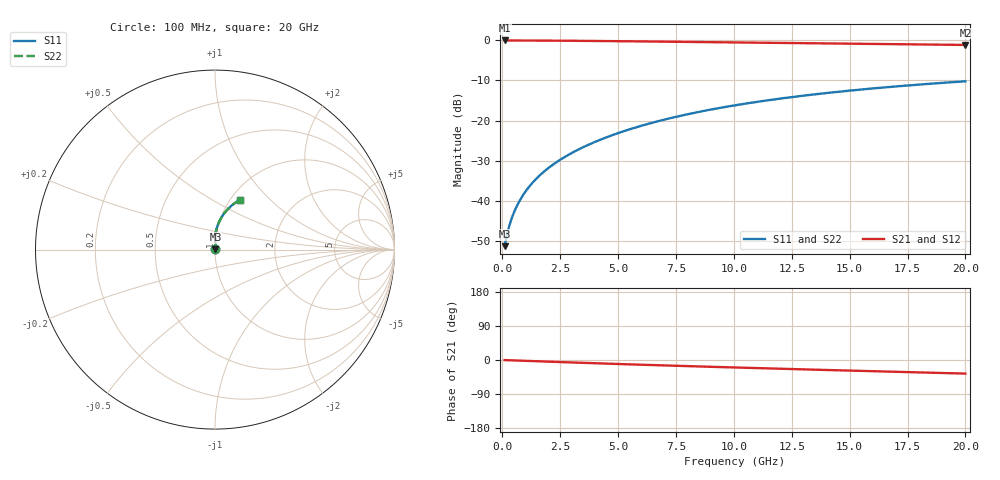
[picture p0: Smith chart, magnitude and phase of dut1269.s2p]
! Touchstone file exported from HFSS 2024.1.0
!  File:  C:/UserFiles/LocalFiles/RDL_TSV_Batchsim/temp_RDL_bottom_1269_1780246171.aedt
!  Generated:  12:51:46 AM Jun  1, 2026
!  Design:  RDL_bottom
!  Project:  temp_RDL_bottom_1269_1780246171
!  Setup:  Setup1
!  Solution:  Sweep
! Variables:
!  dtsv = 10.80580581um
!  hbump = 3um
!  htsv = 53.59um
!  ldown = 521.13um
!  lrdl = 100um
!  p = 40
!  p1 = 50.8um
!  rhole = 1um
!  t = 450um
!  tdown = 3.44um
!  trdl = 3.915915916um
!  wdown = 26.23um
!  wrdl = 20um
# GHz S MA R 50.000000
! Terminal data exported
! Port[1] = RDL1_T1
! Port[2] = RDL1_T2
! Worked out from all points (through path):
!   200 points, 100 MHz to 20 GHz, reference 50 ohm
!   highest |S21| = -0.02 dB at 100 MHz (marker M1); lowest = -1.1 dB at 20 GHz (marker M2)
!   group delay of S21, straight-line fit = 4.91 ps
!   lowest |S11| = -51.3 dB at 100 MHz (marker M3), VSWR 1.01, Z = 50.2 + j0.147 ohm
!   |S11| at or under -10 dB: start of sweep to end of sweep
!   |S22| runs from -51.3 to -10.2 dB; largest |S21 - S12| = 4.3e-15
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0.1  0.002717 32.6  0.9977 -0.2  0.9977 -0.2  0.002717 32.6
! Gamma 0 0 0 0
! Port Impedance 50 0 50 0
0.2  0.003731 49.4  0.9975 -0.5  0.9975 -0.5  0.003731 49.4
0.3  0.004844 58.1  0.9973 -0.7  0.9973 -0.7  0.004844 58.1
0.4  0.00597 63.7  0.9971 -0.9  0.9971 -0.9  0.00597 63.7
0.5  0.007107 67.7  0.997 -1.1  0.997 -1.1  0.007106 67.7
0.6  0.008258 70.8  0.9968 -1.3  0.9968 -1.3  0.008258 70.8
0.8  0.01061 75.2  0.9964 -1.8  0.9964 -1.8  0.01061 75.2
1.1  0.01424 79.4  0.9958 -2.4  0.9958 -2.4  0.01424 79.4
1.3  0.01672 81.3  0.9954 -2.9  0.9954 -2.9  0.01672 81.3
1.6  0.02052 83.5  0.9945 -3.5  0.9945 -3.5  0.02052 83.4
2.1  0.02705 85.8  0.9928 -4.6  0.9928 -4.6  0.02705 85.8
2.7  0.03521 87.5  0.9903 -5.9  0.9903 -5.9  0.03521 87.4
3.5  0.04666 88.6  0.9862 -7.5  0.9862 -7.5  0.04665 88.6
4.2  0.05719 88.9  0.9822 -9.0  0.9822 -9.0  0.05717 88.9
5  0.06974 88.8  0.9772 -10.6  0.9772 -10.6  0.06971 88.8
6.8  0.09945 87.1  0.9651 -14.0  0.9651 -14.0  0.0994 87.0
8.4  0.1268 84.6  0.9541 -16.9  0.9541 -16.9  0.1267 84.6
10.1  0.1559 81.6  0.9425 -19.9  0.9425 -19.9  0.1558 81.6
11.7  0.1829 78.6  0.9317 -22.6  0.9317 -22.6  0.1828 78.6
13.4  0.2109 75.4  0.9204 -25.4  0.9204 -25.4  0.2108 75.4
16.7  0.2621 69.3  0.8987 -30.7  0.8987 -30.7  0.262 69.3
20  0.3089 63.5  0.8772 -35.8  0.8772 -35.8  0.3087 63.5
